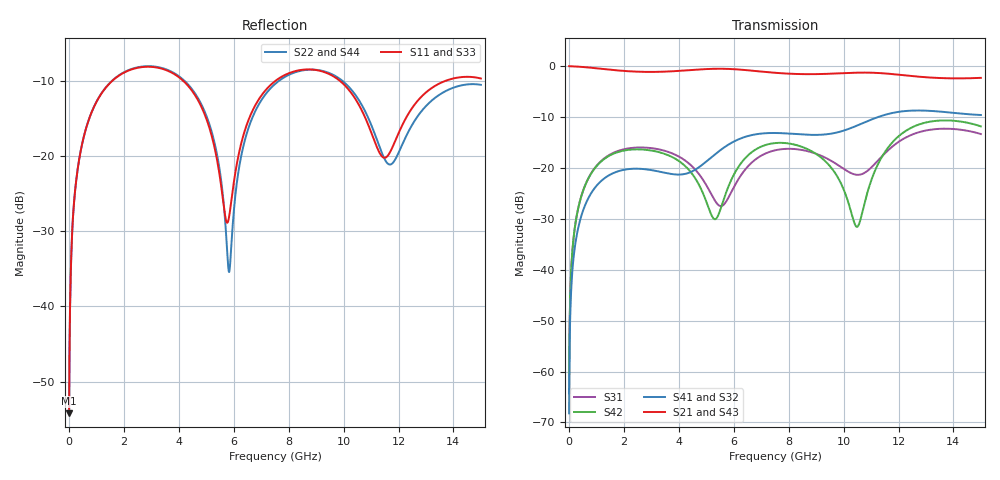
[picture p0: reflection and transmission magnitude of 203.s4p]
! Created with skrf 1.8.0 (http://scikit-rf.org).
# GHz S RI R 50.0
!freq ReS11 ImS11 ReS12 ImS12 ReS13 ImS13
! ReS14 ImS14
! ReS21 ImS21 ReS22 ImS22 ReS23 ImS23
! ReS24 ImS24
! ReS31 ImS31 ReS32 ImS32 ReS33 ImS33
! ReS34 ImS34
! ReS41 ImS41 ReS42 ImS42 ReS43 ImS43
! ReS44 ImS44
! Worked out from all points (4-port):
!   2499 points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, 5 MHz to 15 GHz, reference 50 ohm
!   strongest paths, dB at 5 MHz, 3.476 GHz, 7.19 GHz, 11.1 GHz, 15 GHz:
!     S21: 0.0, -1.1, -1.2, -1.3, -2.3
!     S43: 0.0, -1.1, -1.2, -1.3, -2.3
!     S41: -68.2, -20.9, -13.2, -10.3, -9.6
!     S32: -68.2, -20.9, -13.2, -10.3, -9.6
!     S42: -64.3, -17.2, -15.4, -21.1, -11.8
!     S31: -64.3, -16.6, -17.1, -19.4, -13.3
!   lowest |S11| = -54.2 dB at 5 MHz (marker M1), VSWR 1.00, Z = 50.2 + j0.118 ohm
!   |S11| at or under -10 dB: start of sweep to 1.575 GHz; 4.162 GHz to 7.519 GHz (3.356 GHz wide, 57.5 % of centre); 9.866 GHz to 13.71 GHz (3.843 GHz wide, 32.6 % of centre)
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0.005  0.00155 0.00118  0.9984 -0.00302  7.74e-05 0.000606  -7.52e-05 -0.000381
       0.9984 -0.00302  0.00155 0.00118  -7.52e-05 -0.000381  7.72e-05 0.000606
       7.74e-05 0.000606  -7.52e-05 -0.000381  0.00155 0.00118  0.9984 -0.00302
       -7.52e-05 -0.000381  7.72e-05 0.000606  0.9984 -0.00302  0.00155 0.00118
0.3126303  0.0218 0.078  0.9702 -0.1882  0.0101 0.0361  -0.00819 -0.0226
           0.9702 -0.1882  0.0219 0.078  -0.00819 -0.0226  0.00949 0.0363
           0.0101 0.0361  -0.00819 -0.0226  0.0218 0.078  0.9702 -0.1882
           -0.00819 -0.0226  0.00949 0.0363  0.9702 -0.1882  0.0219 0.078
1.519383  0.2459 0.1877  0.5982 -0.6998  0.122 0.0612  -0.0853 -0.0141
          0.5982 -0.6998  0.2487 0.1861  -0.0853 -0.0141  0.1131 0.0718
          0.122 0.0612  -0.0853 -0.0141  0.2459 0.1877  0.5982 -0.6997
          -0.0853 -0.0141  0.1131 0.0718  0.5982 -0.6997  0.2487 0.1861
5.827428  0.0369 0.0132  -0.9366 -0.0416  -0.0303 0.0427  -0.00293 0.1706
          -0.9366 -0.0416  0.0169 -0.00148  -0.00286 0.1705  0.0444 0.0512
          -0.0303 0.0427  -0.00286 0.1705  0.0385 0.0142  -0.9366 -0.0416
          -0.00293 0.1706  0.0444 0.0512  -0.9366 -0.0416  0.0151 -0.000541
9.022509  0.3706 -0.0412  0.0283 0.8338  0.1002 -0.0935  0.203 -0.0577
          0.0283 0.8338  0.3725 -0.0343  0.2026 -0.0569  0.1075 -0.0831
          0.1002 -0.0935  0.2026 -0.0569  0.3696 -0.0448  0.0273 0.8342
          0.203 -0.0577  0.1075 -0.0831  0.0273 0.8342  0.3717 -0.0296
11.67987  0.1033 0.0197  0.8356 0.0816  -0.0415 0.1482  0.0235 -0.3409
          0.8356 0.0816  0.0866 -0.0146  0.0247 -0.3414  0.0414 0.1609
          -0.0415 0.1482  0.0247 -0.3414  0.0988 0.0228  0.8356 0.0827
          0.0235 -0.3409  0.0414 0.1609  0.8356 0.0827  0.0904 -0.0109
15  0.3129 -0.0983  0.017 -0.7662  0.1947 -0.0915  -0.3207 0.0817
    0.017 -0.7662  0.2906 -0.0645  -0.3212 0.0815  0.2119 -0.1435
    0.1947 -0.0915  -0.3212 0.0815  0.3151 -0.0942  0.0212 -0.7657
    -0.3207 0.0817  0.2119 -0.1435  0.0212 -0.7657  0.2926 -0.065
